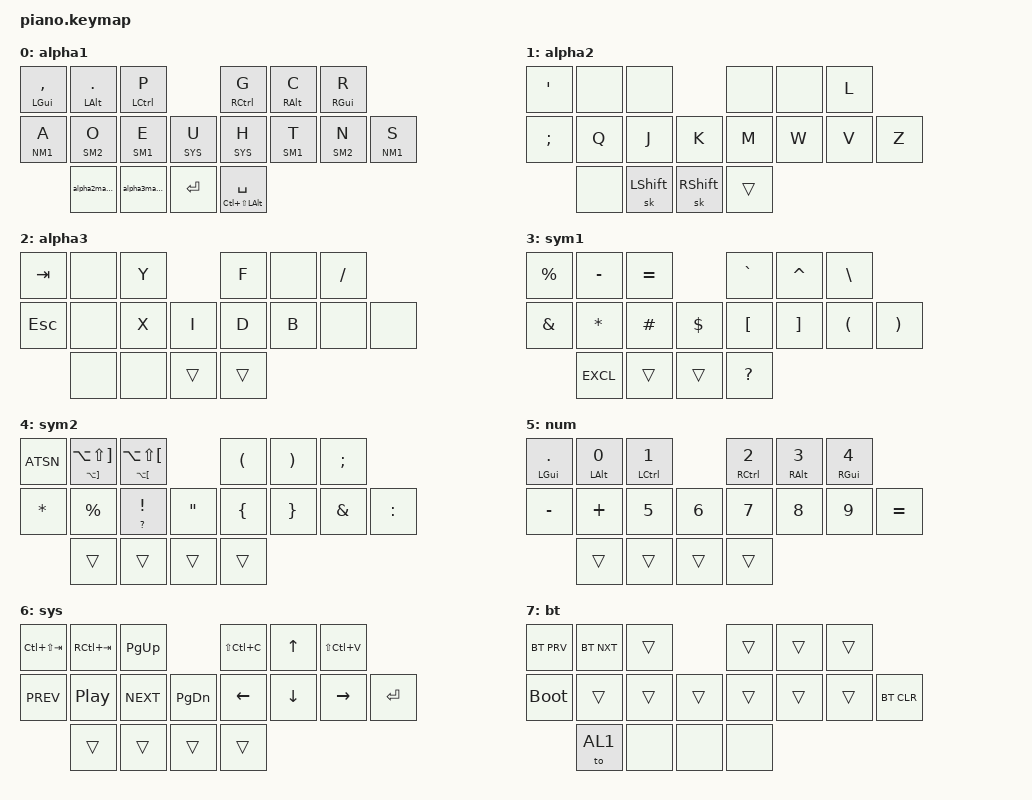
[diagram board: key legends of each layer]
/*
 * Copyright (c) 2020 The ZMK Contributors
 *
 * SPDX-License-Identifier: MIT
 */

#include <behaviors.dtsi>
#include <dt-bindings/zmk/keys.h>
#include <dt-bindings/zmk/bt.h>


&mt {
    tapping-term-ms = <201>;
    flavor = "tap-preferred";
 };
&sk {
     release-after-ms = <2000>;
     quick-release;
 };
 
/* Layers */
#define AL1 0
#define AL2 1
#define AL3 2
#define SM1 3
#define SM2 4	
#define NM1 5	
#define SYS 6
#define BT 7	
/ { 
    combos {
        compatible = "zmk,combos";
        combo_sys {
            timeout-ms = <30>;
            key-positions = <3 4 5>;
            bindings = <&to SYS>;
        };
        combo_caps {
            timeout-ms = <30>;
            key-positions = <10 11 12>;
            bindings = <&caps_word>;
        };
        combo_bt  {
            timeout-ms = <10>;
            key-positions = <11 12>;
            bindings = <&to BT>;
            layers = <SM1>; 
        };
        lalt {
            timeout-ms = <20>;
            key-positions = <8 9>;
            bindings = <&kp LALT>; 
            layers = <SYS>; 
        };
        lclk {
            timeout-ms = <20>;
            key-positions = <10 11>;
            bindings = <&mkp LCLK>;
            layers = <SYS>;
        };
        rclk {
            timeout-ms = <20>;
            key-positions = <3 4>;
            bindings = <&mkp RCLK>;
            layers = <SYS>;
        };
    };
    behaviors {
        hm_l: homerow_mods_left {
            compatible = "zmk,behavior-hold-tap";
            label = "HOMEROW_MODS_L";
            #binding-cells = <2>;
            tapping-term-ms = <300>;
            quick-tap-ms = <250>;
            flavor = "tap-preferred";
            bindings = <&kp>, <&kp>;
        };
        hm_r: homerow_mods_right {
            compatible = "zmk,behavior-hold-tap";
            label = "HOMEROW_MODS_R";
            #binding-cells = <2>;
            tapping-term-ms = <300>;
            quick-tap-ms = <250>;
            flavor = "tap-preferred";
            bindings = <&kp>, <&kp>;
        };
        sr: shift_layer {
            compatible = "zmk,behavior-hold-tap";
            label = "SHIFT_LAYER";
            #binding-cells = <2>;
            tapping-term-ms = <300>;
            quick_tap_ms = <0>;
            flavor = "tap-preferred";
            bindings = <&kp>, <&to>;
            retro-tap;
        };
        hl_l: homerow_layers_left {
            compatible = "zmk,behavior-hold-tap";
            label = "HOMEROW_LAYERS_L";
            #binding-cells = <2>;
            tapping-term-ms = <220>;
            quick-tap-ms = <250>;
            flavor = "tap-preferred";
            bindings = <&mo>, <&kp>;
        };
        hl_r: homerow_layers_right {
            compatible = "zmk,behavior-hold-tap";
            label = "HOMEROW_LAYERS_R";
            #binding-cells = <2>;
            tapping-term-ms = <220>;
            quick-tap-ms = <250>;
            flavor = "tap-preferred";
            bindings = <&mo>, <&kp>;
        };
        td: tapdance {
            compatible = "zmk,behavior-hold-tap";
            label = "TAPDANCE";
            #binding-cells = <2>;
            tapping-term-ms = <190>;
            quick-tap-ms = <250>;
            flavor = "tap-preferred";
            bindings = <&kp>, <&kp>;
        };
        alpha2macro: behavior_macro_1 {
            compatible = "zmk,behavior-macro";
            label = "MACRO1";
            #binding-cells = <0>;
            bindings = < &sl AL2 >;
        };
        alpha3macro: behavior_macro_2 {
            compatible = "zmk,behavior-macro";
            label = "MACRO2";
            #binding-cells = <0>;
            bindings = < &sl AL3 >;
        };
    };
// 				0		1		2					3		4			5
// 		6		7		8		9 					10		11			12 		13
//								14	15 	16 	17		
       keymap {
        compatible = "zmk,keymap";
		alpha1 {
		bindings = <
		 		&hm_l LGUI COMMA 	&hm_l LALT PERIOD 	&hm_l LCTRL P		&hm_r RCTRL G 	&hm_r RALT C    	&hm_r RGUI R	  
		&hl_l NM1 A	&hl_l SM2 O	&hl_l SM1 E	&hl_l SYS U 	 	&hl_r SYS H    	&hl_r SM1 T   		&hl_r SM2 N 	&hl_r NM1 S
			 	 		 	     &alpha2macro &alpha3macro  &kp RET &mt LC(LS(LALT)) SPC
		>;
		};

		alpha2 {
		bindings = <
		 	 	&kp SINGLE_QUOTE 	&none		&none	 	 	&none    	&none		&kp L 	
		&kp SEMICOLON	&kp Q 		&kp J		&kp K 			&kp M 		&kp W		&kp V	&kp Z 
			 	 		 	&none	&sk LSHIFT 		&sk RSHIFT	&trans
		>;
		};

		alpha3 {
		bindings = <
		 	 	&kp TAB	&none	&kp Y 	 	&kp F	&none		&kp SLASH	
		&kp ESC	&none 	&kp X	&kp I		&kp D	&kp B	&none	&none 
			 	&none 		&none 			&trans	&trans
		>;
		};

		sym1 {
		bindings = <
		 		&kp PRCNT   	&kp MINUS	&kp EQUAL	    	&kp GRAVE	&kp CARET		&kp BSLH	
		&kp AMPS	&kp STAR 	&kp HASH	&kp DLLR	 	&kp LBKT	&kp RBKT	 	&kp LPAR 	&kp RPAR
				  				&EXCL  		&trans		&trans  	&kp QMARK
		>;
		};
		sym2 {
		bindings = <
				&kp ATSN	&td LA(RBKT) LA(LS(RBKT))	&td  LA(LBKT) LA(LS(LBKT))	&kp LPRN	&kp RPRN 	&kp SEMI 	
		&kp STAR  	&kp PRCNT	&td QMARK EXCL       		&kp DQT   			&kp LBRC  	&kp RBRC	&kp AMPS	&kp COLON 
		 		&trans		&trans			&trans 	&trans

		>;
		};

		num {
		bindings = <
				&hm_l LGUI DOT 	&hm_l LALT N0	&hm_l LCTRL N1 		&hm_r RCTRL N2 	&hm_r RALT N3		&hm_r RGUI N4	
		&kp MINUS	&kp PLUS 	&kp N5		&kp N6			&kp N7		&kp N8			&kp N9   	&kp EQUAL
							&trans		&trans		&trans			&trans
		>;
		};

		sys {
		bindings = <
				&kp LC(LS(TAB))	&kp RC(TAB) &kp PG_UP		&kp LS(LC(C)) 	&kp UP 		&kp LS(LC(V))
		&kp C_PREV	&kp C_PP	&kp C_NEXT 	&kp PG_DN		&kp LEFT  		&kp DOWN 	&kp RIGHT 	&kp RET 
		 			 		 &trans	&trans	&trans &trans
		>;
		};

		bt {
		bindings = <
				&bt BT_PRV	&bt BT_NXT	&trans 			&trans 	&trans	&trans	
		&bootloader  	&trans 		&trans 		&trans 			&trans 	&trans 	&trans	&bt BT_CLR
		 	 	 				&to AL1	&none &none	&none
		>;
		};
	};
};
